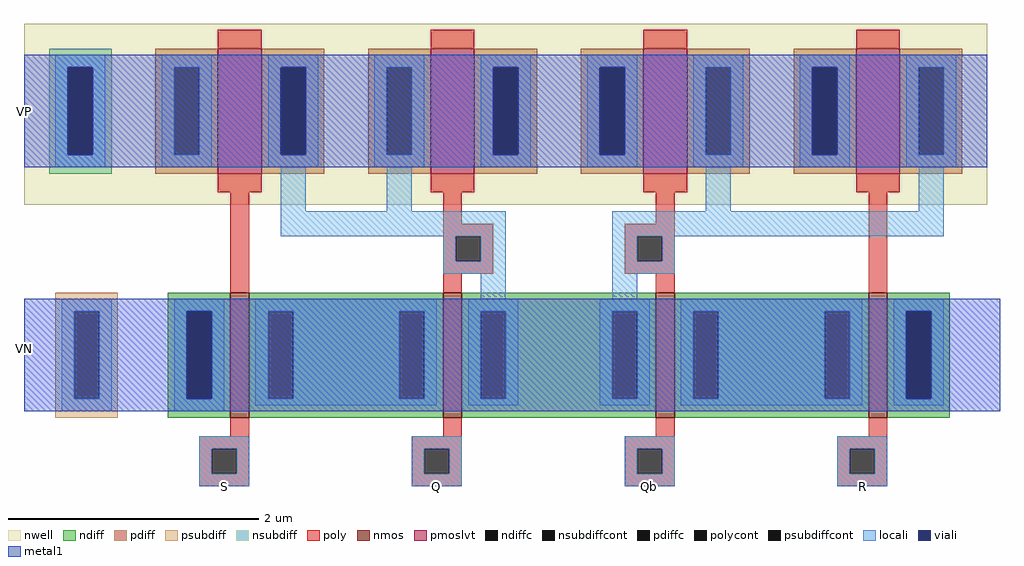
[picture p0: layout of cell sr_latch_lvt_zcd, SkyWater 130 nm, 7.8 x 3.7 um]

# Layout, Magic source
magic
tech sky130A
<< nwell >>
rect -280 95 490 240
<< nmos >>
rect -115 -75 -100 25
rect 55 -75 70 25
rect 225 -75 240 25
rect 395 -75 410 25
<< pmoslvt >>
rect -125 120 -90 220
rect 45 120 80 220
rect 215 120 250 220
rect 385 120 420 220
<< ndiff >>
rect -165 10 -115 25
rect -165 -60 -150 10
rect -130 -60 -115 10
rect -165 -75 -115 -60
rect -100 10 55 25
rect -100 -60 -85 10
rect -65 -60 20 10
rect 40 -60 55 10
rect -100 -75 55 -60
rect 70 10 225 25
rect 70 -60 85 10
rect 105 -60 190 10
rect 210 -60 225 10
rect 70 -75 225 -60
rect 240 10 395 25
rect 240 -60 255 10
rect 275 -60 360 10
rect 380 -60 395 10
rect 240 -75 395 -60
rect 410 10 460 25
rect 410 -60 425 10
rect 445 -60 460 10
rect 410 -75 460 -60
<< pdiff >>
rect -175 205 -125 220
rect -175 135 -160 205
rect -140 135 -125 205
rect -175 120 -125 135
rect -90 205 -40 220
rect -90 135 -75 205
rect -55 135 -40 205
rect -90 120 -40 135
rect -5 205 45 220
rect -5 135 10 205
rect 30 135 45 205
rect -5 120 45 135
rect 80 205 130 220
rect 80 135 95 205
rect 115 135 130 205
rect 80 120 130 135
rect 165 205 215 220
rect 165 135 180 205
rect 200 135 215 205
rect 165 120 215 135
rect 250 205 300 220
rect 250 135 265 205
rect 285 135 300 205
rect 250 120 300 135
rect 335 205 385 220
rect 335 135 350 205
rect 370 135 385 205
rect 335 120 385 135
rect 420 205 470 220
rect 420 135 435 205
rect 455 135 470 205
rect 420 120 470 135
<< ndiffc >>
rect -150 -60 -130 10
rect -85 -60 -65 10
rect 20 -60 40 10
rect 85 -60 105 10
rect 190 -60 210 10
rect 255 -60 275 10
rect 360 -60 380 10
rect 425 -60 445 10
<< pdiffc >>
rect -160 135 -140 205
rect -75 135 -55 205
rect 10 135 30 205
rect 95 135 115 205
rect 180 135 200 205
rect 265 135 285 205
rect 350 135 370 205
rect 435 135 455 205
<< psubdiff >>
rect -255 10 -205 25
rect -255 -60 -240 10
rect -220 -60 -205 10
rect -255 -75 -205 -60
<< nsubdiff >>
rect -260 205 -210 220
rect -260 135 -245 205
rect -225 135 -210 205
rect -260 120 -210 135
<< psubdiffcont >>
rect -240 -60 -220 10
<< nsubdiffcont >>
rect -245 135 -225 205
<< poly >>
rect -125 220 -90 235
rect 45 220 80 235
rect 215 220 250 235
rect 385 220 420 235
rect -125 105 -90 120
rect 45 105 80 120
rect 215 105 250 120
rect 385 105 420 120
rect -115 25 -100 105
rect 55 80 70 105
rect 225 80 240 105
rect 55 70 95 80
rect 55 50 65 70
rect 85 50 95 70
rect 55 40 95 50
rect 200 70 240 80
rect 200 50 210 70
rect 230 50 240 70
rect 200 40 240 50
rect 55 25 70 40
rect 225 25 240 40
rect 395 25 410 105
rect -115 -90 -100 -75
rect 55 -90 70 -75
rect 225 -90 240 -75
rect 395 -90 410 -75
rect -140 -100 -100 -90
rect -140 -120 -130 -100
rect -110 -120 -100 -100
rect -140 -130 -100 -120
rect 30 -100 70 -90
rect 30 -120 40 -100
rect 60 -120 70 -100
rect 30 -130 70 -120
rect 200 -100 240 -90
rect 200 -120 210 -100
rect 230 -120 240 -100
rect 200 -130 240 -120
rect 370 -100 410 -90
rect 370 -120 380 -100
rect 400 -120 410 -100
rect 370 -130 410 -120
<< polycont >>
rect 65 50 85 70
rect 210 50 230 70
rect -130 -120 -110 -100
rect 40 -120 60 -100
rect 210 -120 230 -100
rect 380 -120 400 -100
<< locali >>
rect -255 205 -215 215
rect -255 135 -245 205
rect -225 135 -215 205
rect -255 125 -215 135
rect -170 205 -130 215
rect -170 135 -160 205
rect -140 135 -130 205
rect -170 125 -130 135
rect -85 205 -45 215
rect -85 135 -75 205
rect -55 135 -45 205
rect -85 125 -45 135
rect 0 205 40 215
rect 0 135 10 205
rect 30 135 40 205
rect 0 125 40 135
rect 85 205 125 215
rect 85 135 95 205
rect 115 135 125 205
rect 85 125 125 135
rect 170 205 210 215
rect 170 135 180 205
rect 200 135 210 205
rect 170 125 210 135
rect 255 205 295 215
rect 255 135 265 205
rect 285 135 295 205
rect 255 125 295 135
rect 340 205 380 215
rect 340 135 350 205
rect 370 135 380 205
rect 340 125 380 135
rect 425 205 465 215
rect 425 135 435 205
rect 455 135 465 205
rect 425 125 465 135
rect -75 90 -55 125
rect 10 90 30 125
rect 265 90 285 125
rect 435 90 455 125
rect -75 70 105 90
rect 55 50 65 70
rect 85 50 105 70
rect 55 40 105 50
rect 85 20 105 40
rect 190 70 455 90
rect 190 50 210 70
rect 230 50 240 70
rect 190 40 240 50
rect 190 20 210 40
rect -250 10 -210 20
rect -250 -60 -240 10
rect -220 -60 -210 10
rect -250 -70 -210 -60
rect -160 10 -120 20
rect -160 -60 -150 10
rect -130 -60 -120 10
rect -160 -70 -120 -60
rect -95 10 50 20
rect -95 -60 -85 10
rect -65 -60 20 10
rect 40 -60 50 10
rect -95 -65 50 -60
rect 75 10 115 20
rect 75 -60 85 10
rect 105 -60 115 10
rect 75 -65 115 -60
rect 180 10 220 20
rect 180 -60 190 10
rect 210 -60 220 10
rect 180 -65 220 -60
rect 245 10 390 20
rect 245 -60 255 10
rect 275 -60 360 10
rect 380 -60 390 10
rect 245 -65 390 -60
rect 415 10 455 20
rect 415 -60 425 10
rect 445 -60 455 10
rect 415 -65 455 -60
rect -140 -100 -100 -90
rect -140 -120 -130 -100
rect -110 -120 -100 -100
rect -140 -130 -100 -120
rect 30 -100 70 -90
rect 30 -120 40 -100
rect 60 -120 70 -100
rect 30 -130 70 -120
rect 200 -100 240 -90
rect 200 -120 210 -100
rect 230 -120 240 -100
rect 200 -130 240 -120
rect 370 -100 410 -90
rect 370 -120 380 -100
rect 400 -120 410 -100
rect 370 -130 410 -120
<< viali >>
rect -245 135 -225 205
rect -75 135 -55 205
rect 95 135 115 205
rect 180 135 200 205
rect 350 135 370 205
rect -150 -60 -130 10
rect 425 -60 445 10
<< metal1 >>
rect -280 205 490 215
rect -280 135 -245 205
rect -225 135 -75 205
rect -55 135 95 205
rect 115 135 180 205
rect 200 135 350 205
rect 370 135 490 205
rect -280 125 490 135
rect -280 10 500 20
rect -280 -60 -150 10
rect -130 -60 425 10
rect 445 -60 500 10
rect -280 -70 500 -60
<< labels >>
rlabel metal1 -280 170 -280 170 7 VP
port 1 w
rlabel metal1 -280 -20 -280 -20 7 VN
port 2 w
rlabel locali -120 -130 -120 -130 5 S
port 3 s
rlabel locali 50 -130 50 -130 5 Q
port 5 s
rlabel locali 220 -130 220 -130 5 Qb
port 6 s
rlabel locali 390 -130 390 -130 5 R
port 4 s
<< end >>
